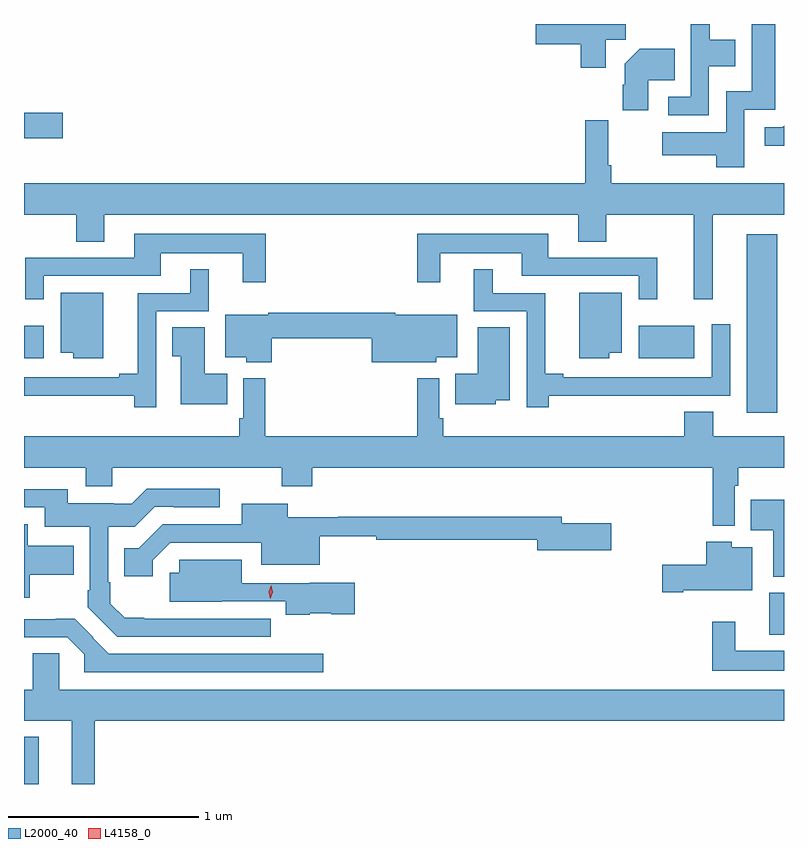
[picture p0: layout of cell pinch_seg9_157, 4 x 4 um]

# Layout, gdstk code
import gdstk
lib = gdstk.Library(unit=1e-6, precision=1e-09)
def R(c, l, rs):  # rectangles x0, y0, x1, y1
    for r in rs: c.add(gdstk.rectangle(r[:2], r[2:], *l))
def P(c, l, *ps):  # polygons
    for p in ps: c.add(gdstk.Polygon(p, *l))
L2000_40 = (2000, 40)
L4158_0 = (4158, 0)

pinch_seg9_157 = lib.new_cell('pinch_seg9_157')
R(pinch_seg9_157, L2000_40, [(710.761,1185.431,710.839,1185.679), (714.683,1186.217,714.761,1186.437), (714.566,1187.385,714.725,1188.325), (710.761,1187.672,710.866,1187.842), (713.996,1187.672,714.289,1187.842), (710.761,1188.83,710.965,1188.965)])
P(pinch_seg9_157, L2000_40, [(714.552,1188.981),(714.715,1188.981),(714.715,1189.431),(714.59,1189.431),(714.59,1189.078),(714.456,1189.078),(714.456,1188.862),(714.12,1188.862),(714.12,1188.74),(714.404,1188.74),(714.404,1188.678),(714.552,1188.678)],
  [(714.366,1189.208),(714.505,1189.208),(714.505,1189.348),(714.369,1189.348),(714.369,1189.431),(714.017,1189.431),(714.017,1189.43),(714.27,1189.43),(714.27,1189.047),(714.153,1189.047),(714.153,1188.951),(714.366,1188.951)],
  [(713.824,1189.348),(713.929,1189.348),(713.929,1189.431),(713.454,1189.431),(713.454,1189.325),(713.69,1189.325),(713.69,1189.2),(713.824,1189.2)],
  [(714.046,1189.136),(714.185,1189.136),(714.185,1189.3),(714.002,1189.3),(713.924,1189.222),(713.924,1189.112),(713.912,1189.112),(713.912,1188.978),(714.046,1188.978)],
  [(714.386,1188.428),(714.761,1188.428),(714.761,1188.592),(713.852,1188.592),(713.852,1188.688),(713.837,1188.688),(713.837,1188.925),(713.716,1188.925),(713.716,1188.592),(710.761,1188.592),(710.761,1188.428),(711.037,1188.428),(711.037,1188.286),(711.184,1188.286),(711.184,1188.428),(713.678,1188.428),(713.678,1188.286),(713.826,1188.286),(713.826,1188.428),(714.287,1188.428),(714.287,1187.982),(714.386,1187.982)],
  [(714.761,1188.896),(714.753,1188.888),(714.66,1188.888),(714.66,1188.791),(714.761,1188.791)],
  [(714.095,1188.201),(713.521,1188.201),(713.521,1188.328),(712.83,1188.328),(712.83,1188.072),(712.951,1188.072),(712.951,1188.224),(713.381,1188.224),(713.381,1188.105),(713.997,1188.105),(713.997,1187.982),(714.095,1187.982)],
  [(710.865,1188.105),(711.481,1188.105),(711.481,1188.224),(711.911,1188.224),(711.911,1188.072),(712.033,1188.072),(712.033,1188.328),(711.341,1188.328),(711.341,1188.201),(710.768,1188.201),(710.768,1187.982),(710.865,1187.982)],
  [(711.456,1187.919),(711.733,1187.919),(711.733,1188.139),(711.635,1188.139),(711.635,1188.015),(711.359,1188.015),(711.359,1187.591),(711.263,1187.591),(711.263,1187.571),(710.761,1187.571),(710.761,1187.474),(711.34,1187.474),(711.34,1187.415),(711.456,1187.415)],
  [(713.522,1187.474),(714.152,1187.474),(714.152,1187.475),(714.477,1187.475),(714.477,1187.851),(714.381,1187.851),(714.381,1187.571),(713.599,1187.571),(713.599,1187.591),(713.504,1187.591),(713.504,1188.015),(713.227,1188.015),(713.227,1188.139),(713.129,1188.139),(713.129,1187.919),(713.406,1187.919),(713.406,1187.415),(713.522,1187.415)],
  [(711.178,1188.016),(710.954,1188.016),(710.954,1187.702),(711.02,1187.702),(711.02,1187.672),(711.178,1187.672)],
  [(713.842,1187.702),(713.908,1187.702),(713.908,1188.016),(713.684,1188.016),(713.684,1187.672),(713.842,1187.672)],
  [(712.064,1187.776),(712.592,1187.776),(712.592,1187.651),(712.932,1187.651),(712.932,1187.678),(713.041,1187.678),(713.041,1187.902),(712.715,1187.902),(712.715,1187.912),(712.047,1187.912),(712.047,1187.902),(711.821,1187.902),(711.821,1187.678),(711.93,1187.678),(711.93,1187.651),(712.064,1187.651)],
  [(713.244,1187.45),(713.317,1187.45),(713.317,1187.834),(713.15,1187.834),(713.15,1187.59),(713.032,1187.59),(713.032,1187.429),(713.244,1187.429)],
  [(711.83,1187.59),(711.712,1187.59),(711.712,1187.834),(711.541,1187.834),(711.541,1187.683),(711.587,1187.683),(711.587,1187.429),(711.83,1187.429)],
  [(714.501,1187),(714.521,1187),(714.521,1187.096),(714.761,1187.096),(714.761,1187.26),(714.388,1187.26),(714.388,1187.39),(714.236,1187.39),(714.236,1187.26),(712.967,1187.26),(712.967,1187.356),(712.947,1187.356),(712.947,1187.566),(712.831,1187.566),(712.831,1187.26),(712.031,1187.26),(712.031,1187.566),(711.915,1187.566),(711.915,1187.356),(711.895,1187.356),(711.895,1187.26),(710.761,1187.26),(710.761,1187.096),(711.086,1187.096),(711.086,1186.997),(711.226,1186.997),(711.226,1187.096),(712.117,1187.096),(712.117,1186.997),(712.277,1186.997),(712.277,1187.096),(714.385,1187.096),(714.385,1186.79),(714.501,1186.79)],
  [(712.06,1186.302),(711.394,1186.302),(711.394,1186.305),(711.29,1186.305),(711.214,1186.38),(711.214,1186.492),(711.204,1186.492),(711.204,1186.785),(711.345,1186.785),(711.45,1186.89),(711.55,1186.89),(711.55,1186.887),(711.79,1186.887),(711.79,1186.984),(711.406,1186.984),(711.327,1186.905),(711.233,1186.905),(711.233,1186.909),(710.992,1186.909),(710.992,1186.983),(710.761,1186.983),(710.761,1186.887),(710.87,1186.887),(710.87,1186.784),(711.108,1186.784),(711.108,1186.45),(711.096,1186.45),(711.096,1186.361),(711.251,1186.206),(712.06,1186.206)],
  [(714.761,1186.927),(714.586,1186.927),(714.586,1186.766),(714.704,1186.766),(714.704,1186.522),(714.761,1186.522)],
  [(711.439,1186.609),(711.531,1186.701),(712.01,1186.701),(712.01,1186.586),(712.318,1186.586),(712.318,1186.735),(712.614,1186.735),(712.614,1186.717),(713.462,1186.717),(713.462,1186.661),(713.851,1186.661),(713.851,1186.803),(713.59,1186.803),(713.59,1186.838),(712.414,1186.838),(712.414,1186.834),(712.15,1186.834),(712.15,1186.906),(711.908,1186.906),(711.908,1186.797),(711.491,1186.797),(711.366,1186.672),(711.289,1186.672),(711.289,1186.524),(711.439,1186.524)],
  [(710.79,1186.532),(711.023,1186.532),(711.023,1186.684),(710.782,1186.684),(710.782,1186.797),(710.761,1186.797),(710.761,1186.41),(710.79,1186.41)],
  [(714.232,1186.451),(714.595,1186.451),(714.595,1186.678),(714.486,1186.678),(714.486,1186.705),(714.353,1186.705),(714.353,1186.586),(714.12,1186.586),(714.12,1186.439),(714.232,1186.439)],
  [(712.266,1186.331),(712.377,1186.331),(712.377,1186.324),(712.501,1186.324),(712.501,1186.489),(712.266,1186.489),(712.266,1186.488),(711.907,1186.488),(711.907,1186.612),(711.578,1186.612),(711.578,1186.542),(711.527,1186.542),(711.527,1186.391),(711.803,1186.391),(711.803,1186.392),(712.138,1186.392),(712.138,1186.323),(712.266,1186.323)],
  [(712.336,1186.116),(711.207,1186.116),(711.122,1186.201),(711.125,1186.204),(711.027,1186.302),(710.927,1186.302),(710.927,1186.299),(710.761,1186.299),(710.761,1186.203),(710.988,1186.203),(711.079,1186.113),(711.079,1186.02),(712.336,1186.02)],
  [(714.761,1186.132),(714.505,1186.132),(714.505,1186.285),(714.384,1186.285),(714.384,1186.028),(714.761,1186.028)],
  [(711.134,1185.764),(714.761,1185.764),(714.761,1185.928),(710.946,1185.928),(710.946,1186.118),(710.807,1186.118),(710.807,1185.928),(710.761,1185.928),(710.761,1185.764),(711.011,1185.764),(711.011,1185.431),(711.134,1185.431)])
P(pinch_seg9_157, L4158_0, [(712.058,1186.406),(712.058,1186.406),(712.05,1186.442),(712.062,1186.477),(712.063,1186.477),(712.063,1186.477),(712.07,1186.441),(712.058,1186.406)])

lib.write_gds('pinch_seg9_157.gds')
